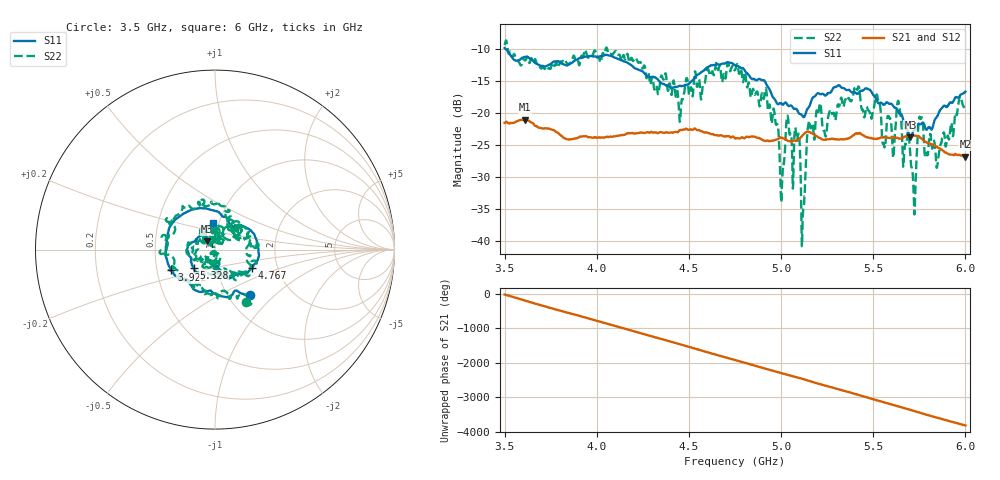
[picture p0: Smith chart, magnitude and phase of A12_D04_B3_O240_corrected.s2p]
! Created with skrf 1.9.0 (http://scikit-rf.org).
# Hz S RI R 50.0
!freq ReS11 ImS11 ReS21 ImS21 ReS12 ImS12 ReS22 ImS22
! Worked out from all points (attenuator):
!   1601 points, 3.5 GHz to 6 GHz, reference 50 ohm
!   highest |S21| = -21.07 dB at 3.609 GHz (marker M1); lowest = -26.8 dB at 6 GHz (marker M2)
!   lowest |S11| = -23.8 dB at 5.702 GHz (marker M3), VSWR 1.14, Z = 45.5 + j4.25 ohm
!   |S11| at or under -10 dB: 3.504 GHz to end of sweep
!   |S22| runs from -40.8 to -8.7 dB; largest |S21 - S12| = 0.0011
!   S11 on the Smith chart (normalised r, x): 3.5 GHz: 1.26, -0.71; 3.922 GHz: 0.60, -0.14; 4.767 GHz: 1.48, -0.32; 5.328 GHz: 0.77, -0.16; 6 GHz: 0.94, +0.28
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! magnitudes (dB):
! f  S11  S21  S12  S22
! 3.5 GHz  -9.9  -21.6  -21.6  -9.5
! 3.609 GHz  -11.3  -21.1  -21.1  -11.8
! 3.917 GHz  -11.5  -23.7  -23.7  -11.1
! 3.922 GHz  -11.4  -23.7  -23.7  -11.2
! 4.334 GHz  -14.9  -23.1  -23.1  -17.0
! 4.75 GHz  -12.6  -24.0  -23.9  -13.4
! 4.767 GHz  -12.7  -24.0  -23.9  -13.2
! 4.969 GHz  -18.0  -24.2  -24.2  -21.4
! 5.005 GHz  -18.6  -23.9  -23.9  -31.3
! 5.034 GHz  -18.8  -24.4  -24.2  -20.4
! 5.088 GHz  -19.6  -24.3  -24.2  -24.2
! 5.119 GHz  -20.6  -23.5  -23.4  -35.5
! 5.147 GHz  -19.3  -23.0  -22.9  -22.1
! 5.167 GHz  -17.9  -23.2  -23.1  -21.7
! 5.328 GHz  -16.1  -24.1  -24.0  -17.8
! 5.584 GHz  -18.6  -23.9  -23.9  -20.5
! 5.639 GHz  -20.0  -24.0  -23.9  -18.5
! 5.702 GHz  -23.8  -23.6  -23.5  -26.8
! 5.72 GHz  -22.8  -23.6  -23.5  -33.3
! 5.756 GHz  -21.8  -23.9  -23.8  -20.9
! 5.85 GHz  -20.4  -25.4  -25.3  -27.6
! 6 GHz  -16.7  -26.8  -26.7  -19.4
